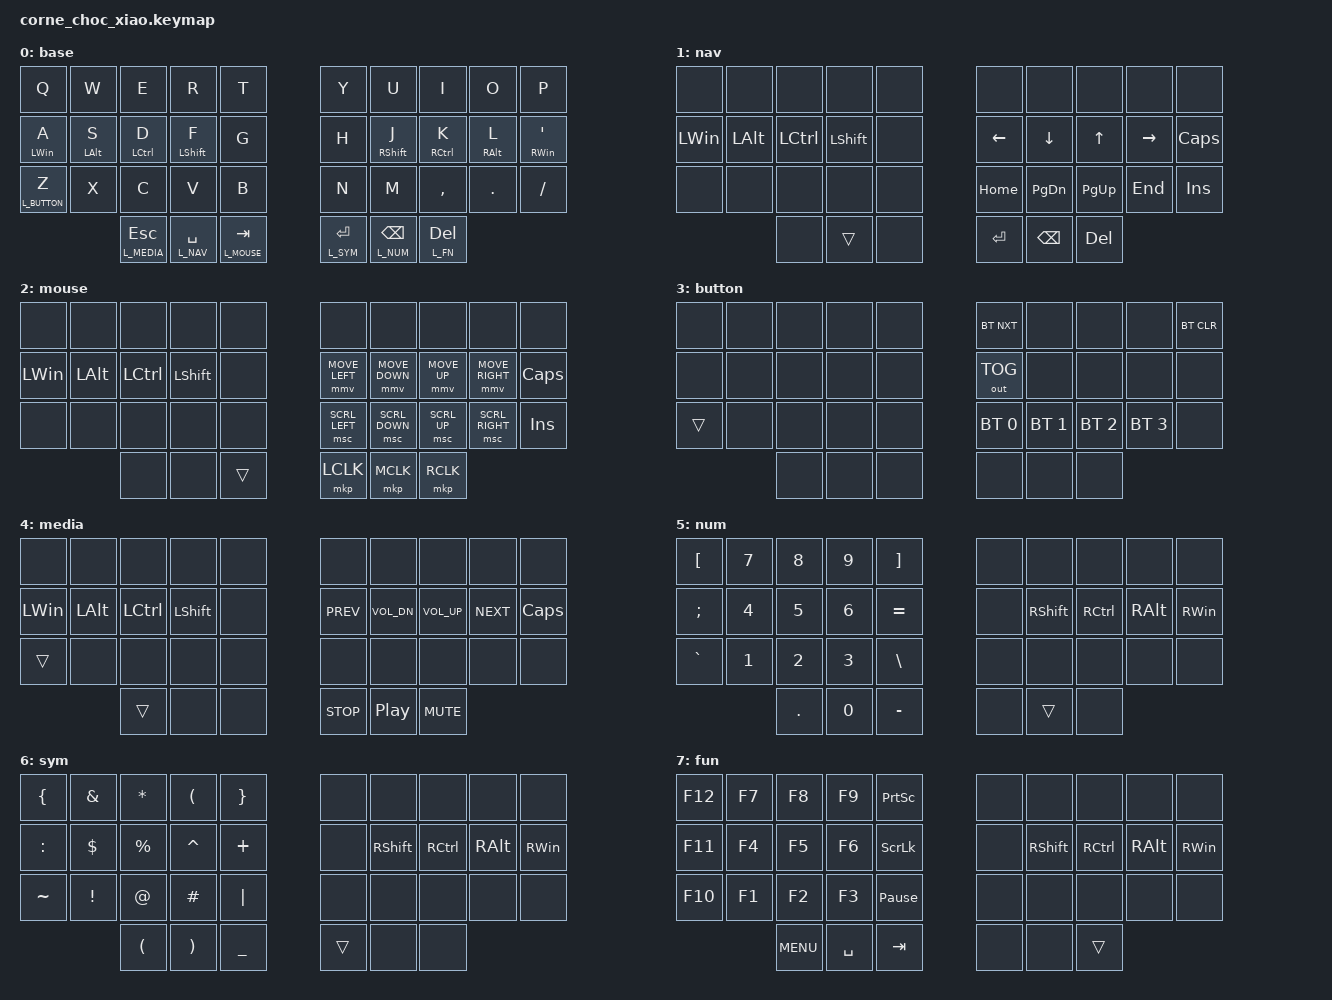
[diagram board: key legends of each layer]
#include <behaviors.dtsi>
#include <dt-bindings/zmk/keys.h>
#include <dt-bindings/zmk/bt.h>
#include <dt-bindings/zmk/outputs.h>
#include <dt-bindings/zmk/pointing.h>


#define L_BASE 0
#define L_NAV 1
#define L_MOUSE 2
#define L_BUTTON 3
#define L_MEDIA 4
#define L_NUM 5
#define L_SYM 6
#define L_FN 7

/ {
        behaviors {
                hm: homerow_mods {
                        compatible = "zmk,behavior-hold-tap";
                        #binding-cells = <2>;
                        tapping-term-ms = <200>;
                        quick-tap-ms = <0>;
                        flavor = "tap-preferred";
                        bindings = <&kp>, <&kp>;
                };
        };



        keymap {
                compatible = "zmk,keymap";

                base {
// -----------------------------------------------------------------------------------------
// |  Q  |  W  |  E  |  R  |  T  | = |  Y  |  U   |  I  |  O  |  P  |
// |  A  |  S  |  D  |  F  |  G  | = |  H  |  J   |  K  |  L  |  '  |
// |  Z  |  X  |  C  |  V  |  B  | = |  N  |  M   |  ,  |  .  |  /  |
//             | ESC | SPC | TAB | = | ENT | BSPC | DEL |
                        bindings = <
    &kp Q           &kp W       &kp E            &kp R             &kp T                           &kp Y               &kp U           &kp I           &kp O           &kp P    
    &hm LWIN A      &hm LALT S  &hm LCTRL D      &hm LSHIFT F      &kp G                           &kp H               &hm RSHIFT J    &hm RCTRL K     &hm RALT L      &hm RWIN APOS 
    &lt L_BUTTON Z  &kp X       &kp C            &kp V             &kp B                           &kp N               &kp M           &kp COMMA       &kp DOT         &kp FSLH 
                                &lt L_MEDIA ESC  &lt L_NAV SPACE   &lt L_MOUSE TAB                 &lt L_SYM ENTER     &lt L_NUM BSPC  &lt L_FN DEL
                        >;
                };

                nav {
// -----------------------------------------------------------------------------------------
// |     |     |      |       |    | = |      |       |      |       |       |
// | WIN | ALT | CTRL | SHIFT |    | = | LEFT | DOWN  | UP   | RIGHT |  CAP  |
// |     |     |      |       |    | = | HOME | PGDO  | PGUP | END   | INST  |
//             |      |       |    | = | ENT  | BSPC  | DEL  |
                        bindings = <
    &none       &none       &none           &none           &none                           &none               &none           &none           &none           &none    
    &kp LWIN    &kp LALT    &kp LCTRL       &kp LSHIFT      &none                           &kp LEFT            &kp DOWN        &kp UP          &kp RIGHT       &kp CAPS 
    &none       &none       &none           &none           &none                           &kp HOME            &kp PG_DN       &kp PG_UP       &kp END         &kp INSERT 
                            &none           &trans          &none                           &kp ENTER           &kp BSPC        &kp DEL
                        >;
                };

// Mouse keys are not supported in ZMK, assign it to Nav for now
                mouse {
// -----------------------------------------------------------------------------------------
// |     |     |      |       |    | = |      |       |      |       |       |
// | WIN | ALT | CTRL | SHIFT |    | = | LEFT | DOWN  | UP   | RIGHT |  CAP  |
// |     |     |      |       |    | = | HOME | PGDO  | PGUP | END   | INST  |
//             |      |       |    | = | ENT  | BSPC  | DEL  |
                        bindings = <
    &none       &none       &none           &none           &none                           &none               &none               &none           &none              &none    
    &kp LWIN    &kp LALT    &kp LCTRL       &kp LSHIFT      &none                           &mmv MOVE_LEFT      &mmv MOVE_DOWN      &mmv MOVE_UP    &mmv MOVE_RIGHT    &kp CAPS 
    &none       &none       &none           &none           &none                           &msc SCRL_LEFT      &msc SCRL_DOWN    &msc SCRL_UP  &msc SCRL_RIGHT  &kp INSERT 
                            &none           &none           &trans                          &mkp LCLK           &mkp MCLK           &mkp RCLK
                        >;
                };

// Additional buttons 
                button {
// -----------------------------------------------------------------------------------------
// |     |     |      |       |    | = | BT_NXT |       |      |       | BT_CLR |
// |     |     |      |       |    | = |        |       |      |       |        |
// |     |     |      |       |    | = |        |       |      |       |        |
//             |      |       |    | = |        |       |      |
                        bindings = <
    &none       &none       &none           &none           &none                           &bt BT_NXT          &none           &none           &none           &bt BT_CLR    
    &none       &none       &none           &none           &none                           &out OUT_TOG        &none           &none           &none           &none
    &trans      &none       &none           &none           &none                           &bt BT_SEL 0        &bt BT_SEL 1    &bt BT_SEL 2    &bt BT_SEL 3    &none
                            &none           &none           &none                           &none               &none           &none                            
                            >;
                };

                media {
// -----------------------------------------------------------------------------------------
// |     |     |      |       |    | = |        |          |          |        |        |
// | WIN | ALT | CTRL | SHIFT |    | = | C_PREV | C_VOL_DN | C_VOL_UP | C_NEXT |        |
// |     |     |      |       |    | = |        |          |          |        |        |
//             |      |       |    | = | C_STOP | C_PP     | C_MUTE   |
                        bindings = <
    &none       &none       &none           &none           &none                           &none               &none           &none           &none           &none
    &kp LWIN    &kp LALT    &kp LCTRL       &kp LSHIFT      &none                           &kp C_PREV          &kp C_VOL_DN    &kp C_VOL_UP    &kp C_NEXT      &kp CAPS 
    &trans      &none       &none           &none           &none                           &none               &none           &none           &none           &none
                            &trans          &none           &none                           &kp C_STOP          &kp C_PP        &kp C_MUTE                            
                            >;
                };

                num {
// -----------------------------------------------------------------------------------------
// | LBKT  | 7   | 8    | 9     | RBKT   | = |        |          |          |        |        |
// | SEMI  | 4   | 5    | 6     | EQUAL  | = |        | SHIFT    | CTRL     | ALT    | WIN    |
// | GRAVE | 1   | 2    | 3     | BSLH   | = |        |          |          |        |        |
//               | DOT  | 0     | MINUS  | = |        |          |          |
                        bindings = <
    &kp LBKT    &kp N7      &kp N8          &kp N9          &kp RBKT                        &none               &none           &none           &none           &none
    &kp SEMI    &kp N4      &kp N5          &kp N6          &kp EQUAL                       &none               &kp RSHIFT      &kp RCTRL       &kp RALT        &kp RWIN
    &kp GRAVE   &kp N1      &kp N2          &kp N3          &kp BSLH                        &none               &none           &none           &none           &none
                            &kp DOT         &kp N0          &kp MINUS                       &none               &trans          &none
                            >;
                };

                sym {
// -----------------------------------------------------------------------------------------
// | LBRC  | AMPS | 8    | 9     | RBKT   | = |        |          |          |        |        |
// | SEMI  | 4   | 5    | 6     | EQUAL  | = |        | SHIFT    | CTRL     | ALT    | WIN    |
// | GRAVE | 1   | 2    | 3     | BSLH   | = |        |          |          |        |        |
//               | DOT  | 0     | MINUS  | = |        |          |          |
                        bindings = <
    &kp LBRC    &kp AMPS    &kp STAR        &kp LPAR        &kp RBRC                        &none               &none           &none           &none           &none
    &kp COLON   &kp DLLR    &kp PRCNT       &kp CARET       &kp PLUS                        &none               &kp RSHIFT      &kp RCTRL       &kp RALT        &kp RWIN
    &kp TILDE   &kp EXCL    &kp AT          &kp HASH        &kp PIPE                        &none               &none           &none           &none           &none
                            &kp LPAR        &kp RPAR        &kp UNDER                       &trans              &none           &none
                            >;
                };

                fun {
// -----------------------------------------------------------------------------------------
// | F12  | F7   | F8    | F9     | PrtScn   | = |        |          |          |        |        |
// | F11  | F4   | F5    | F6     | ScrLoc   | = |        | SHIFT    | CTRL     | ALT    | WIN    |
// | F10  | F1   | F2    | F3     | PauBrk   | = |        |          |          |        |        |
//               | MENU  | SPACE  | TAB      | = |        |          |          |
                        bindings = <
    &kp F12    &kp F7    &kp F8       &kp F9        &kp PSCRN                         &none               &none           &none           &none           &none
    &kp F11    &kp F4    &kp F5       &kp F6        &kp SLCK                          &none               &kp RSHIFT      &kp RCTRL       &kp RALT        &kp RWIN
    &kp F10    &kp F1    &kp F2       &kp F3        &kp PAUSE_BREAK                   &none               &none           &none           &none           &none
                         &kp C_MENU   &kp SPACE     &kp TAB                           &none               &none           &trans
                            >;
                };
        };
};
